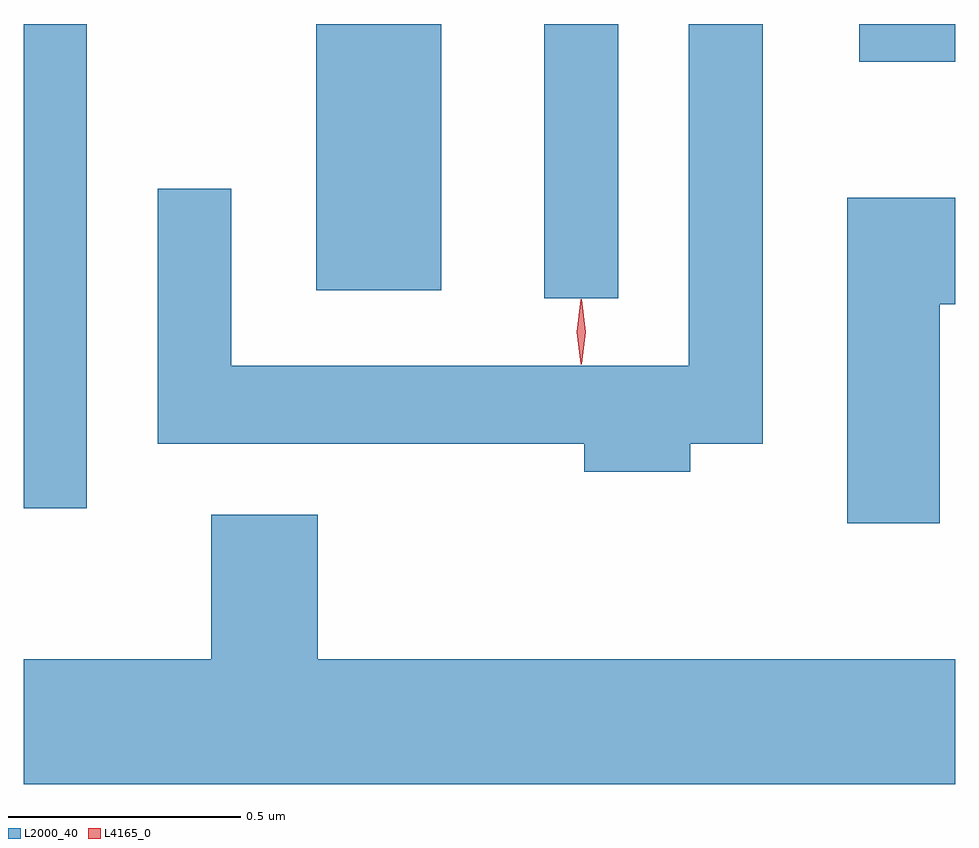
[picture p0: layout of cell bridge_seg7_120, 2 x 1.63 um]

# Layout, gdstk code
import gdstk
lib = gdstk.Library(unit=1e-6, precision=1e-09)
def R(c, l, rs):  # rectangles x0, y0, x1, y1
    for r in rs: c.add(gdstk.rectangle(r[:2], r[2:], *l))
def P(c, l, *ps):  # polygons
    for p in ps: c.add(gdstk.Polygon(p, *l))
L2000_40 = (2000, 40)
L4165_0 = (4165, 0)

bridge_seg7_120 = lib.new_cell('bridge_seg7_120')
R(bridge_seg7_120, L2000_40, [(1490.398,1788.168,1490.534,1789.207), (1491.516,1788.618,1491.674,1789.207), (1491.026,1788.636,1491.294,1789.207), (1492.191,1789.126,1492.398,1789.207)])
P(bridge_seg7_120, L2000_40, [(1491.829,1788.306),(1491.984,1788.306),(1491.984,1789.207),(1491.826,1789.207),(1491.826,1788.474),(1490.844,1788.474),(1490.844,1788.853),(1490.686,1788.853),(1490.686,1788.306),(1491.601,1788.306),(1491.601,1788.246),(1491.829,1788.246)],
  [(1492.364,1788.606),(1492.398,1788.606),(1492.398,1788.834),(1492.166,1788.834),(1492.166,1788.136),(1492.364,1788.136)],
  [(1492.398,1787.844),(1491.029,1787.844),(1491.029,1788.154),(1490.801,1788.154),(1490.801,1787.844),(1490.398,1787.844),(1490.398,1787.576),(1492.398,1787.576)])
P(bridge_seg7_120, L4165_0, [(1491.594,1788.477),(1491.585,1788.546),(1491.594,1788.616),(1491.595,1788.616),(1491.596,1788.616),(1491.605,1788.546),(1491.596,1788.477),(1491.595,1788.477)],
  [(1491.595,1788.479),(1491.595,1788.48),(1491.585,1788.546),(1491.595,1788.612),(1491.595,1788.613),(1491.596,1788.612),(1491.605,1788.546),(1491.596,1788.48)])

lib.write_gds('bridge_seg7_120.gds')
